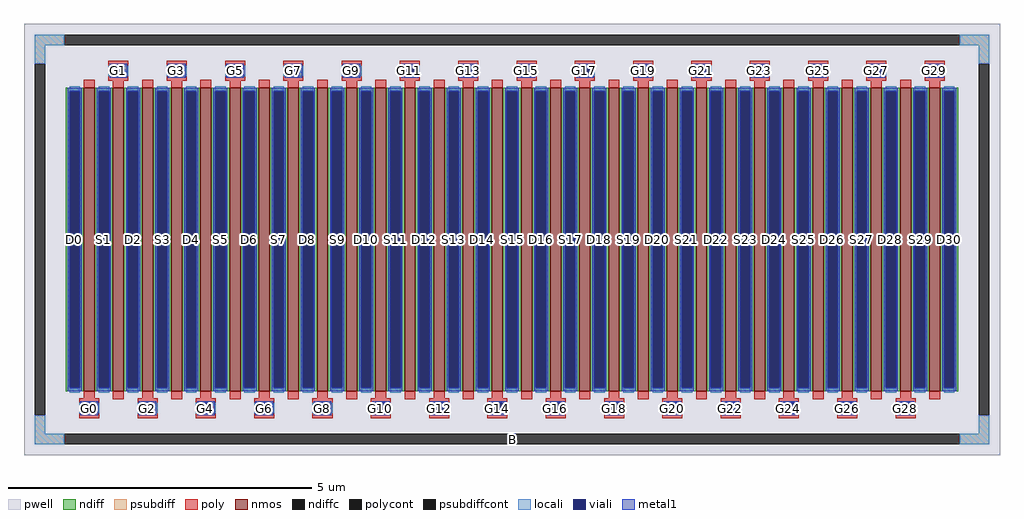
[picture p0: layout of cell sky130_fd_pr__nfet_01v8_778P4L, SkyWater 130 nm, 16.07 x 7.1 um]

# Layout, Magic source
magic
tech sky130A
magscale 1 2
<< pwell >>
rect -1607 -710 1607 710
<< nmos >>
rect -1410 -500 -1374 500
rect -1314 -500 -1278 500
rect -1218 -500 -1182 500
rect -1122 -500 -1086 500
rect -1026 -500 -990 500
rect -930 -500 -894 500
rect -834 -500 -798 500
rect -738 -500 -702 500
rect -642 -500 -606 500
rect -546 -500 -510 500
rect -450 -500 -414 500
rect -354 -500 -318 500
rect -258 -500 -222 500
rect -162 -500 -126 500
rect -66 -500 -30 500
rect 30 -500 66 500
rect 126 -500 162 500
rect 222 -500 258 500
rect 318 -500 354 500
rect 414 -500 450 500
rect 510 -500 546 500
rect 606 -500 642 500
rect 702 -500 738 500
rect 798 -500 834 500
rect 894 -500 930 500
rect 990 -500 1026 500
rect 1086 -500 1122 500
rect 1182 -500 1218 500
rect 1278 -500 1314 500
rect 1374 -500 1410 500
<< ndiff >>
rect -1469 488 -1410 500
rect -1469 -488 -1457 488
rect -1423 -488 -1410 488
rect -1469 -500 -1410 -488
rect -1374 488 -1314 500
rect -1374 -488 -1361 488
rect -1327 -488 -1314 488
rect -1374 -500 -1314 -488
rect -1278 488 -1218 500
rect -1278 -488 -1265 488
rect -1231 -488 -1218 488
rect -1278 -500 -1218 -488
rect -1182 488 -1122 500
rect -1182 -488 -1169 488
rect -1135 -488 -1122 488
rect -1182 -500 -1122 -488
rect -1086 488 -1026 500
rect -1086 -488 -1073 488
rect -1039 -488 -1026 488
rect -1086 -500 -1026 -488
rect -990 488 -930 500
rect -990 -488 -977 488
rect -943 -488 -930 488
rect -990 -500 -930 -488
rect -894 488 -834 500
rect -894 -488 -881 488
rect -847 -488 -834 488
rect -894 -500 -834 -488
rect -798 488 -738 500
rect -798 -488 -785 488
rect -751 -488 -738 488
rect -798 -500 -738 -488
rect -702 488 -642 500
rect -702 -488 -689 488
rect -655 -488 -642 488
rect -702 -500 -642 -488
rect -606 488 -546 500
rect -606 -488 -593 488
rect -559 -488 -546 488
rect -606 -500 -546 -488
rect -510 488 -450 500
rect -510 -488 -497 488
rect -463 -488 -450 488
rect -510 -500 -450 -488
rect -414 488 -354 500
rect -414 -488 -401 488
rect -367 -488 -354 488
rect -414 -500 -354 -488
rect -318 488 -258 500
rect -318 -488 -305 488
rect -271 -488 -258 488
rect -318 -500 -258 -488
rect -222 488 -162 500
rect -222 -488 -209 488
rect -175 -488 -162 488
rect -222 -500 -162 -488
rect -126 488 -66 500
rect -126 -488 -113 488
rect -79 -488 -66 488
rect -126 -500 -66 -488
rect -30 488 30 500
rect -30 -488 -17 488
rect 17 -488 30 488
rect -30 -500 30 -488
rect 66 488 126 500
rect 66 -488 79 488
rect 113 -488 126 488
rect 66 -500 126 -488
rect 162 488 222 500
rect 162 -488 175 488
rect 209 -488 222 488
rect 162 -500 222 -488
rect 258 488 318 500
rect 258 -488 271 488
rect 305 -488 318 488
rect 258 -500 318 -488
rect 354 488 414 500
rect 354 -488 367 488
rect 401 -488 414 488
rect 354 -500 414 -488
rect 450 488 510 500
rect 450 -488 463 488
rect 497 -488 510 488
rect 450 -500 510 -488
rect 546 488 606 500
rect 546 -488 559 488
rect 593 -488 606 488
rect 546 -500 606 -488
rect 642 488 702 500
rect 642 -488 655 488
rect 689 -488 702 488
rect 642 -500 702 -488
rect 738 488 798 500
rect 738 -488 751 488
rect 785 -488 798 488
rect 738 -500 798 -488
rect 834 488 894 500
rect 834 -488 847 488
rect 881 -488 894 488
rect 834 -500 894 -488
rect 930 488 990 500
rect 930 -488 943 488
rect 977 -488 990 488
rect 930 -500 990 -488
rect 1026 488 1086 500
rect 1026 -488 1039 488
rect 1073 -488 1086 488
rect 1026 -500 1086 -488
rect 1122 488 1182 500
rect 1122 -488 1135 488
rect 1169 -488 1182 488
rect 1122 -500 1182 -488
rect 1218 488 1278 500
rect 1218 -488 1231 488
rect 1265 -488 1278 488
rect 1218 -500 1278 -488
rect 1314 488 1374 500
rect 1314 -488 1327 488
rect 1361 -488 1374 488
rect 1314 -500 1374 -488
rect 1410 488 1469 500
rect 1410 -488 1423 488
rect 1457 -488 1469 488
rect 1410 -500 1469 -488
<< ndiffc >>
rect -1457 -488 -1423 488
rect -1361 -488 -1327 488
rect -1265 -488 -1231 488
rect -1169 -488 -1135 488
rect -1073 -488 -1039 488
rect -977 -488 -943 488
rect -881 -488 -847 488
rect -785 -488 -751 488
rect -689 -488 -655 488
rect -593 -488 -559 488
rect -497 -488 -463 488
rect -401 -488 -367 488
rect -305 -488 -271 488
rect -209 -488 -175 488
rect -113 -488 -79 488
rect -17 -488 17 488
rect 79 -488 113 488
rect 175 -488 209 488
rect 271 -488 305 488
rect 367 -488 401 488
rect 463 -488 497 488
rect 559 -488 593 488
rect 655 -488 689 488
rect 751 -488 785 488
rect 847 -488 881 488
rect 943 -488 977 488
rect 1039 -488 1073 488
rect 1135 -488 1169 488
rect 1231 -488 1265 488
rect 1327 -488 1361 488
rect 1423 -488 1457 488
<< psubdiff >>
rect -1571 640 -1475 674
rect 1475 640 1571 674
rect -1571 578 -1537 640
rect 1537 578 1571 640
rect -1571 -640 -1537 -578
rect 1537 -640 1571 -578
rect -1571 -674 -1475 -640
rect 1475 -674 1571 -640
<< psubdiffcont >>
rect -1475 640 1475 674
rect -1571 -578 -1537 578
rect 1537 -578 1571 578
rect -1475 -674 1475 -640
<< poly >>
rect -1329 572 -1263 588
rect -1329 538 -1313 572
rect -1279 538 -1263 572
rect -1410 500 -1374 526
rect -1329 522 -1263 538
rect -1137 572 -1071 588
rect -1137 538 -1121 572
rect -1087 538 -1071 572
rect -1314 500 -1278 522
rect -1218 500 -1182 526
rect -1137 522 -1071 538
rect -945 572 -879 588
rect -945 538 -929 572
rect -895 538 -879 572
rect -1122 500 -1086 522
rect -1026 500 -990 526
rect -945 522 -879 538
rect -753 572 -687 588
rect -753 538 -737 572
rect -703 538 -687 572
rect -930 500 -894 522
rect -834 500 -798 526
rect -753 522 -687 538
rect -561 572 -495 588
rect -561 538 -545 572
rect -511 538 -495 572
rect -738 500 -702 522
rect -642 500 -606 526
rect -561 522 -495 538
rect -369 572 -303 588
rect -369 538 -353 572
rect -319 538 -303 572
rect -546 500 -510 522
rect -450 500 -414 526
rect -369 522 -303 538
rect -177 572 -111 588
rect -177 538 -161 572
rect -127 538 -111 572
rect -354 500 -318 522
rect -258 500 -222 526
rect -177 522 -111 538
rect 15 572 81 588
rect 15 538 31 572
rect 65 538 81 572
rect -162 500 -126 522
rect -66 500 -30 526
rect 15 522 81 538
rect 207 572 273 588
rect 207 538 223 572
rect 257 538 273 572
rect 30 500 66 522
rect 126 500 162 526
rect 207 522 273 538
rect 399 572 465 588
rect 399 538 415 572
rect 449 538 465 572
rect 222 500 258 522
rect 318 500 354 526
rect 399 522 465 538
rect 591 572 657 588
rect 591 538 607 572
rect 641 538 657 572
rect 414 500 450 522
rect 510 500 546 526
rect 591 522 657 538
rect 783 572 849 588
rect 783 538 799 572
rect 833 538 849 572
rect 606 500 642 522
rect 702 500 738 526
rect 783 522 849 538
rect 975 572 1041 588
rect 975 538 991 572
rect 1025 538 1041 572
rect 798 500 834 522
rect 894 500 930 526
rect 975 522 1041 538
rect 1167 572 1233 588
rect 1167 538 1183 572
rect 1217 538 1233 572
rect 990 500 1026 522
rect 1086 500 1122 526
rect 1167 522 1233 538
rect 1359 572 1425 588
rect 1359 538 1375 572
rect 1409 538 1425 572
rect 1182 500 1218 522
rect 1278 500 1314 526
rect 1359 522 1425 538
rect 1374 500 1410 522
rect -1410 -522 -1374 -500
rect -1425 -538 -1359 -522
rect -1314 -526 -1278 -500
rect -1218 -522 -1182 -500
rect -1425 -572 -1409 -538
rect -1375 -572 -1359 -538
rect -1425 -588 -1359 -572
rect -1233 -538 -1167 -522
rect -1122 -526 -1086 -500
rect -1026 -522 -990 -500
rect -1233 -572 -1217 -538
rect -1183 -572 -1167 -538
rect -1233 -588 -1167 -572
rect -1041 -538 -975 -522
rect -930 -526 -894 -500
rect -834 -522 -798 -500
rect -1041 -572 -1025 -538
rect -991 -572 -975 -538
rect -1041 -588 -975 -572
rect -849 -538 -783 -522
rect -738 -526 -702 -500
rect -642 -522 -606 -500
rect -849 -572 -833 -538
rect -799 -572 -783 -538
rect -849 -588 -783 -572
rect -657 -538 -591 -522
rect -546 -526 -510 -500
rect -450 -522 -414 -500
rect -657 -572 -641 -538
rect -607 -572 -591 -538
rect -657 -588 -591 -572
rect -465 -538 -399 -522
rect -354 -526 -318 -500
rect -258 -522 -222 -500
rect -465 -572 -449 -538
rect -415 -572 -399 -538
rect -465 -588 -399 -572
rect -273 -538 -207 -522
rect -162 -526 -126 -500
rect -66 -522 -30 -500
rect -273 -572 -257 -538
rect -223 -572 -207 -538
rect -273 -588 -207 -572
rect -81 -538 -15 -522
rect 30 -526 66 -500
rect 126 -522 162 -500
rect -81 -572 -65 -538
rect -31 -572 -15 -538
rect -81 -588 -15 -572
rect 111 -538 177 -522
rect 222 -526 258 -500
rect 318 -522 354 -500
rect 111 -572 127 -538
rect 161 -572 177 -538
rect 111 -588 177 -572
rect 303 -538 369 -522
rect 414 -526 450 -500
rect 510 -522 546 -500
rect 303 -572 319 -538
rect 353 -572 369 -538
rect 303 -588 369 -572
rect 495 -538 561 -522
rect 606 -526 642 -500
rect 702 -522 738 -500
rect 495 -572 511 -538
rect 545 -572 561 -538
rect 495 -588 561 -572
rect 687 -538 753 -522
rect 798 -526 834 -500
rect 894 -522 930 -500
rect 687 -572 703 -538
rect 737 -572 753 -538
rect 687 -588 753 -572
rect 879 -538 945 -522
rect 990 -526 1026 -500
rect 1086 -522 1122 -500
rect 879 -572 895 -538
rect 929 -572 945 -538
rect 879 -588 945 -572
rect 1071 -538 1137 -522
rect 1182 -526 1218 -500
rect 1278 -522 1314 -500
rect 1071 -572 1087 -538
rect 1121 -572 1137 -538
rect 1071 -588 1137 -572
rect 1263 -538 1329 -522
rect 1374 -526 1410 -500
rect 1263 -572 1279 -538
rect 1313 -572 1329 -538
rect 1263 -588 1329 -572
<< polycont >>
rect -1313 538 -1279 572
rect -1121 538 -1087 572
rect -929 538 -895 572
rect -737 538 -703 572
rect -545 538 -511 572
rect -353 538 -319 572
rect -161 538 -127 572
rect 31 538 65 572
rect 223 538 257 572
rect 415 538 449 572
rect 607 538 641 572
rect 799 538 833 572
rect 991 538 1025 572
rect 1183 538 1217 572
rect 1375 538 1409 572
rect -1409 -572 -1375 -538
rect -1217 -572 -1183 -538
rect -1025 -572 -991 -538
rect -833 -572 -799 -538
rect -641 -572 -607 -538
rect -449 -572 -415 -538
rect -257 -572 -223 -538
rect -65 -572 -31 -538
rect 127 -572 161 -538
rect 319 -572 353 -538
rect 511 -572 545 -538
rect 703 -572 737 -538
rect 895 -572 929 -538
rect 1087 -572 1121 -538
rect 1279 -572 1313 -538
<< locali >>
rect -1571 640 -1475 674
rect 1475 640 1571 674
rect -1571 578 -1537 640
rect 1537 578 1571 640
rect -1329 538 -1313 572
rect -1279 538 -1263 572
rect -1137 538 -1121 572
rect -1087 538 -1071 572
rect -945 538 -929 572
rect -895 538 -879 572
rect -753 538 -737 572
rect -703 538 -687 572
rect -561 538 -545 572
rect -511 538 -495 572
rect -369 538 -353 572
rect -319 538 -303 572
rect -177 538 -161 572
rect -127 538 -111 572
rect 15 538 31 572
rect 65 538 81 572
rect 207 538 223 572
rect 257 538 273 572
rect 399 538 415 572
rect 449 538 465 572
rect 591 538 607 572
rect 641 538 657 572
rect 783 538 799 572
rect 833 538 849 572
rect 975 538 991 572
rect 1025 538 1041 572
rect 1167 538 1183 572
rect 1217 538 1233 572
rect 1359 538 1375 572
rect 1409 538 1425 572
rect -1457 488 -1423 504
rect -1457 -504 -1423 -488
rect -1361 488 -1327 504
rect -1361 -504 -1327 -488
rect -1265 488 -1231 504
rect -1265 -504 -1231 -488
rect -1169 488 -1135 504
rect -1169 -504 -1135 -488
rect -1073 488 -1039 504
rect -1073 -504 -1039 -488
rect -977 488 -943 504
rect -977 -504 -943 -488
rect -881 488 -847 504
rect -881 -504 -847 -488
rect -785 488 -751 504
rect -785 -504 -751 -488
rect -689 488 -655 504
rect -689 -504 -655 -488
rect -593 488 -559 504
rect -593 -504 -559 -488
rect -497 488 -463 504
rect -497 -504 -463 -488
rect -401 488 -367 504
rect -401 -504 -367 -488
rect -305 488 -271 504
rect -305 -504 -271 -488
rect -209 488 -175 504
rect -209 -504 -175 -488
rect -113 488 -79 504
rect -113 -504 -79 -488
rect -17 488 17 504
rect -17 -504 17 -488
rect 79 488 113 504
rect 79 -504 113 -488
rect 175 488 209 504
rect 175 -504 209 -488
rect 271 488 305 504
rect 271 -504 305 -488
rect 367 488 401 504
rect 367 -504 401 -488
rect 463 488 497 504
rect 463 -504 497 -488
rect 559 488 593 504
rect 559 -504 593 -488
rect 655 488 689 504
rect 655 -504 689 -488
rect 751 488 785 504
rect 751 -504 785 -488
rect 847 488 881 504
rect 847 -504 881 -488
rect 943 488 977 504
rect 943 -504 977 -488
rect 1039 488 1073 504
rect 1039 -504 1073 -488
rect 1135 488 1169 504
rect 1135 -504 1169 -488
rect 1231 488 1265 504
rect 1231 -504 1265 -488
rect 1327 488 1361 504
rect 1327 -504 1361 -488
rect 1423 488 1457 504
rect 1423 -504 1457 -488
rect -1425 -572 -1409 -538
rect -1375 -572 -1359 -538
rect -1233 -572 -1217 -538
rect -1183 -572 -1167 -538
rect -1041 -572 -1025 -538
rect -991 -572 -975 -538
rect -849 -572 -833 -538
rect -799 -572 -783 -538
rect -657 -572 -641 -538
rect -607 -572 -591 -538
rect -465 -572 -449 -538
rect -415 -572 -399 -538
rect -273 -572 -257 -538
rect -223 -572 -207 -538
rect -81 -572 -65 -538
rect -31 -572 -15 -538
rect 111 -572 127 -538
rect 161 -572 177 -538
rect 303 -572 319 -538
rect 353 -572 369 -538
rect 495 -572 511 -538
rect 545 -572 561 -538
rect 687 -572 703 -538
rect 737 -572 753 -538
rect 879 -572 895 -538
rect 929 -572 945 -538
rect 1071 -572 1087 -538
rect 1121 -572 1137 -538
rect 1263 -572 1279 -538
rect 1313 -572 1329 -538
rect -1571 -640 -1537 -578
rect 1537 -640 1571 -578
rect -1571 -674 -1475 -640
rect 1475 -674 1571 -640
<< viali >>
rect -1313 538 -1279 572
rect -1121 538 -1087 572
rect -929 538 -895 572
rect -737 538 -703 572
rect -545 538 -511 572
rect -353 538 -319 572
rect -161 538 -127 572
rect 31 538 65 572
rect 223 538 257 572
rect 415 538 449 572
rect 607 538 641 572
rect 799 538 833 572
rect 991 538 1025 572
rect 1183 538 1217 572
rect 1375 538 1409 572
rect -1457 -488 -1423 488
rect -1361 -488 -1327 488
rect -1265 -488 -1231 488
rect -1169 -488 -1135 488
rect -1073 -488 -1039 488
rect -977 -488 -943 488
rect -881 -488 -847 488
rect -785 -488 -751 488
rect -689 -488 -655 488
rect -593 -488 -559 488
rect -497 -488 -463 488
rect -401 -488 -367 488
rect -305 -488 -271 488
rect -209 -488 -175 488
rect -113 -488 -79 488
rect -17 -488 17 488
rect 79 -488 113 488
rect 175 -488 209 488
rect 271 -488 305 488
rect 367 -488 401 488
rect 463 -488 497 488
rect 559 -488 593 488
rect 655 -488 689 488
rect 751 -488 785 488
rect 847 -488 881 488
rect 943 -488 977 488
rect 1039 -488 1073 488
rect 1135 -488 1169 488
rect 1231 -488 1265 488
rect 1327 -488 1361 488
rect 1423 -488 1457 488
rect -1409 -572 -1375 -538
rect -1217 -572 -1183 -538
rect -1025 -572 -991 -538
rect -833 -572 -799 -538
rect -641 -572 -607 -538
rect -449 -572 -415 -538
rect -257 -572 -223 -538
rect -65 -572 -31 -538
rect 127 -572 161 -538
rect 319 -572 353 -538
rect 511 -572 545 -538
rect 703 -572 737 -538
rect 895 -572 929 -538
rect 1087 -572 1121 -538
rect 1279 -572 1313 -538
<< metal1 >>
rect -1325 572 -1267 578
rect -1325 538 -1313 572
rect -1279 538 -1267 572
rect -1325 532 -1267 538
rect -1133 572 -1075 578
rect -1133 538 -1121 572
rect -1087 538 -1075 572
rect -1133 532 -1075 538
rect -941 572 -883 578
rect -941 538 -929 572
rect -895 538 -883 572
rect -941 532 -883 538
rect -749 572 -691 578
rect -749 538 -737 572
rect -703 538 -691 572
rect -749 532 -691 538
rect -557 572 -499 578
rect -557 538 -545 572
rect -511 538 -499 572
rect -557 532 -499 538
rect -365 572 -307 578
rect -365 538 -353 572
rect -319 538 -307 572
rect -365 532 -307 538
rect -173 572 -115 578
rect -173 538 -161 572
rect -127 538 -115 572
rect -173 532 -115 538
rect 19 572 77 578
rect 19 538 31 572
rect 65 538 77 572
rect 19 532 77 538
rect 211 572 269 578
rect 211 538 223 572
rect 257 538 269 572
rect 211 532 269 538
rect 403 572 461 578
rect 403 538 415 572
rect 449 538 461 572
rect 403 532 461 538
rect 595 572 653 578
rect 595 538 607 572
rect 641 538 653 572
rect 595 532 653 538
rect 787 572 845 578
rect 787 538 799 572
rect 833 538 845 572
rect 787 532 845 538
rect 979 572 1037 578
rect 979 538 991 572
rect 1025 538 1037 572
rect 979 532 1037 538
rect 1171 572 1229 578
rect 1171 538 1183 572
rect 1217 538 1229 572
rect 1171 532 1229 538
rect 1363 572 1421 578
rect 1363 538 1375 572
rect 1409 538 1421 572
rect 1363 532 1421 538
rect -1463 488 -1417 500
rect -1463 -488 -1457 488
rect -1423 -488 -1417 488
rect -1463 -500 -1417 -488
rect -1367 488 -1321 500
rect -1367 -488 -1361 488
rect -1327 -488 -1321 488
rect -1367 -500 -1321 -488
rect -1271 488 -1225 500
rect -1271 -488 -1265 488
rect -1231 -488 -1225 488
rect -1271 -500 -1225 -488
rect -1175 488 -1129 500
rect -1175 -488 -1169 488
rect -1135 -488 -1129 488
rect -1175 -500 -1129 -488
rect -1079 488 -1033 500
rect -1079 -488 -1073 488
rect -1039 -488 -1033 488
rect -1079 -500 -1033 -488
rect -983 488 -937 500
rect -983 -488 -977 488
rect -943 -488 -937 488
rect -983 -500 -937 -488
rect -887 488 -841 500
rect -887 -488 -881 488
rect -847 -488 -841 488
rect -887 -500 -841 -488
rect -791 488 -745 500
rect -791 -488 -785 488
rect -751 -488 -745 488
rect -791 -500 -745 -488
rect -695 488 -649 500
rect -695 -488 -689 488
rect -655 -488 -649 488
rect -695 -500 -649 -488
rect -599 488 -553 500
rect -599 -488 -593 488
rect -559 -488 -553 488
rect -599 -500 -553 -488
rect -503 488 -457 500
rect -503 -488 -497 488
rect -463 -488 -457 488
rect -503 -500 -457 -488
rect -407 488 -361 500
rect -407 -488 -401 488
rect -367 -488 -361 488
rect -407 -500 -361 -488
rect -311 488 -265 500
rect -311 -488 -305 488
rect -271 -488 -265 488
rect -311 -500 -265 -488
rect -215 488 -169 500
rect -215 -488 -209 488
rect -175 -488 -169 488
rect -215 -500 -169 -488
rect -119 488 -73 500
rect -119 -488 -113 488
rect -79 -488 -73 488
rect -119 -500 -73 -488
rect -23 488 23 500
rect -23 -488 -17 488
rect 17 -488 23 488
rect -23 -500 23 -488
rect 73 488 119 500
rect 73 -488 79 488
rect 113 -488 119 488
rect 73 -500 119 -488
rect 169 488 215 500
rect 169 -488 175 488
rect 209 -488 215 488
rect 169 -500 215 -488
rect 265 488 311 500
rect 265 -488 271 488
rect 305 -488 311 488
rect 265 -500 311 -488
rect 361 488 407 500
rect 361 -488 367 488
rect 401 -488 407 488
rect 361 -500 407 -488
rect 457 488 503 500
rect 457 -488 463 488
rect 497 -488 503 488
rect 457 -500 503 -488
rect 553 488 599 500
rect 553 -488 559 488
rect 593 -488 599 488
rect 553 -500 599 -488
rect 649 488 695 500
rect 649 -488 655 488
rect 689 -488 695 488
rect 649 -500 695 -488
rect 745 488 791 500
rect 745 -488 751 488
rect 785 -488 791 488
rect 745 -500 791 -488
rect 841 488 887 500
rect 841 -488 847 488
rect 881 -488 887 488
rect 841 -500 887 -488
rect 937 488 983 500
rect 937 -488 943 488
rect 977 -488 983 488
rect 937 -500 983 -488
rect 1033 488 1079 500
rect 1033 -488 1039 488
rect 1073 -488 1079 488
rect 1033 -500 1079 -488
rect 1129 488 1175 500
rect 1129 -488 1135 488
rect 1169 -488 1175 488
rect 1129 -500 1175 -488
rect 1225 488 1271 500
rect 1225 -488 1231 488
rect 1265 -488 1271 488
rect 1225 -500 1271 -488
rect 1321 488 1367 500
rect 1321 -488 1327 488
rect 1361 -488 1367 488
rect 1321 -500 1367 -488
rect 1417 488 1463 500
rect 1417 -488 1423 488
rect 1457 -488 1463 488
rect 1417 -500 1463 -488
rect -1421 -538 -1363 -532
rect -1421 -572 -1409 -538
rect -1375 -572 -1363 -538
rect -1421 -578 -1363 -572
rect -1229 -538 -1171 -532
rect -1229 -572 -1217 -538
rect -1183 -572 -1171 -538
rect -1229 -578 -1171 -572
rect -1037 -538 -979 -532
rect -1037 -572 -1025 -538
rect -991 -572 -979 -538
rect -1037 -578 -979 -572
rect -845 -538 -787 -532
rect -845 -572 -833 -538
rect -799 -572 -787 -538
rect -845 -578 -787 -572
rect -653 -538 -595 -532
rect -653 -572 -641 -538
rect -607 -572 -595 -538
rect -653 -578 -595 -572
rect -461 -538 -403 -532
rect -461 -572 -449 -538
rect -415 -572 -403 -538
rect -461 -578 -403 -572
rect -269 -538 -211 -532
rect -269 -572 -257 -538
rect -223 -572 -211 -538
rect -269 -578 -211 -572
rect -77 -538 -19 -532
rect -77 -572 -65 -538
rect -31 -572 -19 -538
rect -77 -578 -19 -572
rect 115 -538 173 -532
rect 115 -572 127 -538
rect 161 -572 173 -538
rect 115 -578 173 -572
rect 307 -538 365 -532
rect 307 -572 319 -538
rect 353 -572 365 -538
rect 307 -578 365 -572
rect 499 -538 557 -532
rect 499 -572 511 -538
rect 545 -572 557 -538
rect 499 -578 557 -572
rect 691 -538 749 -532
rect 691 -572 703 -538
rect 737 -572 749 -538
rect 691 -578 749 -572
rect 883 -538 941 -532
rect 883 -572 895 -538
rect 929 -572 941 -538
rect 883 -578 941 -572
rect 1075 -538 1133 -532
rect 1075 -572 1087 -538
rect 1121 -572 1133 -538
rect 1075 -578 1133 -572
rect 1267 -538 1325 -532
rect 1267 -572 1279 -538
rect 1313 -572 1325 -538
rect 1267 -578 1325 -572
<< labels >>
rlabel psubdiffcont 0 -657 0 -657 0 B
port 62 nsew
rlabel ndiffc -1440 0 -1440 0 0 D0
port 63 nsew
rlabel polycont -1392 -555 -1392 -555 0 G0
port 64 nsew
rlabel ndiffc -1344 0 -1344 0 0 S1
port 65 nsew
rlabel polycont -1296 555 -1296 555 0 G1
port 66 nsew
rlabel ndiffc -1248 0 -1248 0 0 D2
port 67 nsew
rlabel polycont -1200 -555 -1200 -555 0 G2
port 68 nsew
rlabel ndiffc -1152 0 -1152 0 0 S3
port 69 nsew
rlabel polycont -1104 555 -1104 555 0 G3
port 70 nsew
rlabel ndiffc -1056 0 -1056 0 0 D4
port 71 nsew
rlabel polycont -1008 -555 -1008 -555 0 G4
port 72 nsew
rlabel ndiffc -960 0 -960 0 0 S5
port 73 nsew
rlabel polycont -912 555 -912 555 0 G5
port 74 nsew
rlabel ndiffc -864 0 -864 0 0 D6
port 75 nsew
rlabel polycont -816 -555 -816 -555 0 G6
port 76 nsew
rlabel ndiffc -768 0 -768 0 0 S7
port 77 nsew
rlabel polycont -720 555 -720 555 0 G7
port 78 nsew
rlabel ndiffc -672 0 -672 0 0 D8
port 79 nsew
rlabel polycont -624 -555 -624 -555 0 G8
port 80 nsew
rlabel ndiffc -576 0 -576 0 0 S9
port 81 nsew
rlabel polycont -528 555 -528 555 0 G9
port 82 nsew
rlabel ndiffc -480 0 -480 0 0 D10
port 83 nsew
rlabel polycont -432 -555 -432 -555 0 G10
port 84 nsew
rlabel ndiffc -384 0 -384 0 0 S11
port 85 nsew
rlabel polycont -336 555 -336 555 0 G11
port 86 nsew
rlabel ndiffc -288 0 -288 0 0 D12
port 87 nsew
rlabel polycont -240 -555 -240 -555 0 G12
port 88 nsew
rlabel ndiffc -192 0 -192 0 0 S13
port 89 nsew
rlabel polycont -144 555 -144 555 0 G13
port 90 nsew
rlabel ndiffc -96 0 -96 0 0 D14
port 91 nsew
rlabel polycont -48 -555 -48 -555 0 G14
port 92 nsew
rlabel ndiffc 0 0 0 0 0 S15
port 93 nsew
rlabel polycont 48 555 48 555 0 G15
port 94 nsew
rlabel ndiffc 96 0 96 0 0 D16
port 95 nsew
rlabel polycont 144 -555 144 -555 0 G16
port 96 nsew
rlabel ndiffc 192 0 192 0 0 S17
port 97 nsew
rlabel polycont 240 555 240 555 0 G17
port 98 nsew
rlabel ndiffc 288 0 288 0 0 D18
port 99 nsew
rlabel polycont 336 -555 336 -555 0 G18
port 100 nsew
rlabel ndiffc 384 0 384 0 0 S19
port 101 nsew
rlabel polycont 432 555 432 555 0 G19
port 102 nsew
rlabel ndiffc 480 0 480 0 0 D20
port 103 nsew
rlabel polycont 528 -555 528 -555 0 G20
port 104 nsew
rlabel ndiffc 576 0 576 0 0 S21
port 105 nsew
rlabel polycont 624 555 624 555 0 G21
port 106 nsew
rlabel ndiffc 672 0 672 0 0 D22
port 107 nsew
rlabel polycont 720 -555 720 -555 0 G22
port 108 nsew
rlabel ndiffc 768 0 768 0 0 S23
port 109 nsew
rlabel polycont 816 555 816 555 0 G23
port 110 nsew
rlabel ndiffc 864 0 864 0 0 D24
port 111 nsew
rlabel polycont 912 -555 912 -555 0 G24
port 112 nsew
rlabel ndiffc 960 0 960 0 0 S25
port 113 nsew
rlabel polycont 1008 555 1008 555 0 G25
port 114 nsew
rlabel ndiffc 1056 0 1056 0 0 D26
port 115 nsew
rlabel polycont 1104 -555 1104 -555 0 G26
port 116 nsew
rlabel ndiffc 1152 0 1152 0 0 S27
port 117 nsew
rlabel polycont 1200 555 1200 555 0 G27
port 118 nsew
rlabel ndiffc 1248 0 1248 0 0 D28
port 119 nsew
rlabel polycont 1296 -555 1296 -555 0 G28
port 120 nsew
rlabel ndiffc 1344 0 1344 0 0 S29
port 121 nsew
rlabel polycont 1392 555 1392 555 0 G29
port 122 nsew
rlabel ndiffc 1440 0 1440 0 0 D30
port 123 nsew
<< properties >>
string FIXED_BBOX -1554 -657 1554 657
string gencell sky130_fd_pr__nfet_01v8
string library sky130
string parameters w 5 l 0.18 m 1 nf 30 diffcov 100 polycov 100 guard 1 glc 1 grc 1 gtc 1 gbc 1 tbcov 100 rlcov 100 topc 1 botc 1 poverlap 0 doverlap 1 lmin 0.15 wmin 0.42 class mosfet compatible {sky130_fd_pr__nfet_01v8 sky130_fd_pr__nfet_01v8_lvt  sky130_fd_bs_flash__special_sonosfet_star  sky130_fd_pr__nfet_g5v0d10v5 sky130_fd_pr__nfet_05v0_nvt  sky130_fd_pr__nfet_03v3_nvt} full_metal 1 conn_gates 0 viasrc 100 viadrn 100 viagate 100 viagb 0 viagr 0 viagl 0 viagt 0 doports 1
<< end >>
